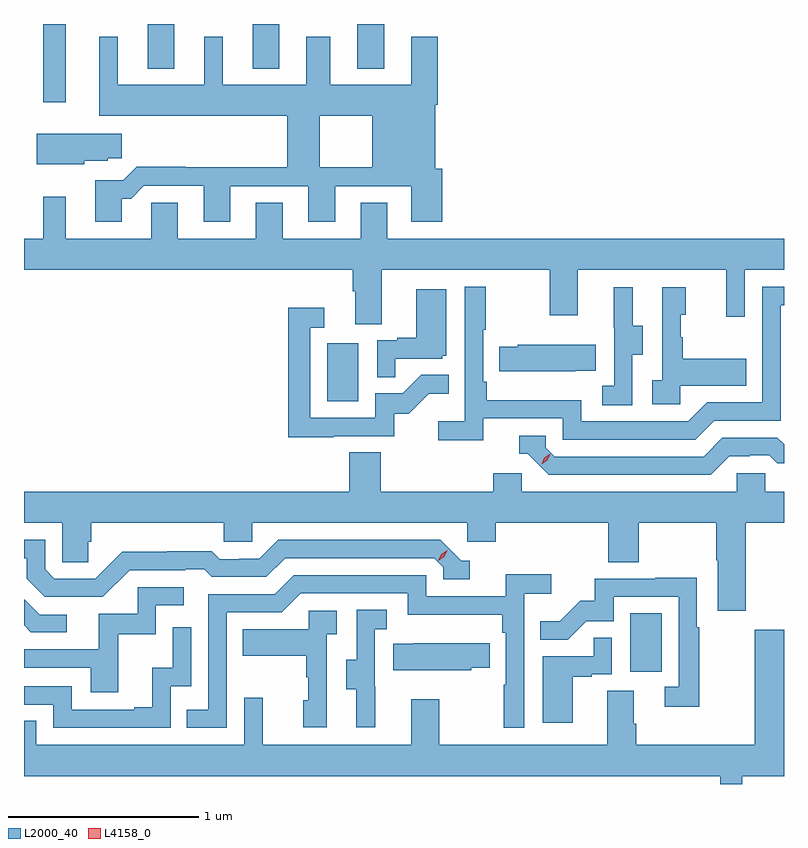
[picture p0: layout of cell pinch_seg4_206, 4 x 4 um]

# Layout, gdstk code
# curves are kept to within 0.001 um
import gdstk
lib = gdstk.Library(unit=1e-6, precision=1e-09)
def R(c, l, rs):  # rectangles x0, y0, x1, y1
    for r in rs: c.add(gdstk.rectangle(r[:2], r[2:], *l))
def A(c, l, x, y, w, h, nx, ny, dx, dy):  # array of equal rectangles
    R(c, l, [(x+i*dx, y+j*dy, x+i*dx+w, y+j*dy+h) for i in range(nx) for j in range(ny)])
def P(c, l, *ps):  # polygons
    for p in ps: c.add(gdstk.Polygon(p, *l))
L2000_40 = (2000, 40)
L4158_0 = (4158, 0)

pinch_seg4_206 = lib.new_cell('pinch_seg4_206')
A(pinch_seg4_206, L2000_40, 1011.971, 831.179, 0.14, 0.235, 3, 1, 0.552, 0)
R(pinch_seg4_206, L2000_40, [(1014.512,828.006,1014.676,828.313), (1012.916,829.428,1013.08,829.735), (1011.42,831.003,1011.541,831.414)])
P(pinch_seg4_206, L2000_40, [(1012.169,830.663),(1011.914,830.663),(1011.843,830.592),(1011.695,830.592),(1011.695,830.373),(1011.835,830.373),(1011.835,830.495),(1011.884,830.495),(1011.951,830.562),(1012.265,830.562),(1012.265,830.373),(1012.405,830.373),(1012.405,830.559),(1012.817,830.559),(1012.817,830.373),(1012.957,830.373),(1012.957,830.559),(1013.357,830.559),(1013.357,830.373),(1013.522,830.373),(1013.522,830.652),(1013.485,830.652),(1013.485,830.99),(1013.498,830.99),(1013.498,831.346),(1013.357,831.346),(1013.357,831.094),(1012.933,831.094),(1012.933,831.346),(1012.805,831.346),(1012.805,831.094),(1012.366,831.094),(1012.366,831.346),(1012.268,831.346),(1012.268,831.094),(1011.814,831.094),(1011.814,831.346),(1011.716,831.346),(1011.716,830.93),(1012.706,830.93),(1012.706,830.66),(1012.876,830.66),(1012.876,830.93),(1013.153,830.93),(1013.153,830.66),(1012.169,830.66)],
  [(1011.636,830.693),(1011.762,830.693),(1011.762,830.707),(1011.835,830.707),(1011.835,830.836),(1011.386,830.836),(1011.386,830.675),(1011.636,830.675)],
  [(1013.051,830.008),(1013.063,830.008),(1013.063,829.834),(1013.203,829.834),(1013.203,830.12),(1014.088,830.12),(1014.088,829.881),(1014.235,829.881),(1014.235,830.12),(1015.016,830.12),(1015.016,829.872),(1015.113,829.872),(1015.113,830.12),(1015.32,830.12),(1015.32,830.284),(1013.233,830.284),(1013.233,830.474),(1013.093,830.474),(1013.093,830.284),(1012.681,830.284),(1012.681,830.474),(1012.541,830.474),(1012.541,830.284),(1012.129,830.284),(1012.129,830.474),(1011.99,830.474),(1011.99,830.284),(1011.541,830.284),(1011.541,830.506),(1011.42,830.506),(1011.42,830.284),(1011.32,830.284),(1011.32,830.12),(1013.051,830.12)],
  [(1013.738,829.338),(1014.156,829.338),(1014.156,829.227),(1014.853,829.227),(1014.952,829.326),(1015.302,829.326),(1015.302,829.935),(1015.32,829.935),(1015.32,830.031),(1015.206,830.031),(1015.206,829.422),(1014.915,829.422),(1014.816,829.323),(1014.252,829.323),(1014.252,829.435),(1013.756,829.435),(1013.756,829.531),(1013.736,829.531),(1013.736,829.804),(1013.749,829.804),(1013.749,830.032),(1013.64,830.032),(1013.64,829.324),(1013.499,829.324),(1013.499,829.222),(1013.738,829.222)],
  [(1014.522,829.672),(1014.577,829.672),(1014.577,829.827),(1014.523,829.827),(1014.523,830.029),(1014.425,830.029),(1014.425,829.815),(1014.426,829.815),(1014.426,829.511),(1014.363,829.511),(1014.363,829.408),(1014.522,829.408)],
  [(1014.774,829.511),(1015.121,829.511),(1015.121,829.651),(1014.787,829.651),(1014.787,829.766),(1014.777,829.766),(1014.777,829.884),(1014.802,829.884),(1014.802,830.029),(1014.678,830.029),(1014.678,829.538),(1014.627,829.538),(1014.627,829.413),(1014.774,829.413)],
  [(1013.273,829.653),(1013.52,829.653),(1013.52,829.668),(1013.542,829.668),(1013.542,830.017),(1013.384,830.017),(1013.384,829.762),(1013.285,829.762),(1013.285,829.749),(1013.178,829.749),(1013.178,829.555),(1013.273,829.555)],
  [(1012.949,829.245),(1013.268,829.245),(1013.268,829.362),(1013.344,829.362),(1013.451,829.469),(1013.555,829.469),(1013.555,829.568),(1013.411,829.568),(1013.313,829.47),(1013.169,829.47),(1013.169,829.341),(1012.827,829.341),(1012.827,829.815),(1012.9,829.815),(1012.9,829.921),(1012.711,829.921),(1012.711,829.24),(1012.949,829.24)],
  [(1014.221,829.589),(1014.329,829.589),(1014.329,829.726),(1013.919,829.726),(1013.919,829.716),(1013.821,829.716),(1013.821,829.586),(1014.221,829.586)],
  [(1015.033,829.14),(1015.14,829.14),(1015.14,829.143),(1015.243,829.143),(1015.285,829.101),(1015.32,829.101),(1015.32,829.201),(1015.285,829.236),(1014.996,829.236),(1014.897,829.137),(1014.114,829.137),(1014.066,829.185),(1014.066,829.248),(1013.927,829.248),(1013.927,829.152),(1013.97,829.152),(1014.081,829.041),(1014.934,829.041)],
  [(1015.119,828.788),(1015.32,828.788),(1015.32,828.952),(1015.221,828.952),(1015.221,829.05),(1015.071,829.05),(1015.071,828.952),(1013.94,828.952),(1013.94,829.05),(1013.789,829.05),(1013.789,828.952),(1013.198,828.952),(1013.198,829.16),(1013.033,829.16),(1013.033,828.952),(1011.32,828.952),(1011.32,828.788),(1011.522,828.788),(1011.522,828.58),(1011.659,828.58),(1011.659,828.69),(1011.674,828.69),(1011.674,828.788),(1012.371,828.788),(1012.371,828.69),(1012.521,828.69),(1012.521,828.788),(1013.652,828.788),(1013.652,828.69),(1013.804,828.69),(1013.804,828.788),(1014.395,828.788),(1014.395,828.58),(1014.555,828.58),(1014.555,828.788),(1014.964,828.788),(1014.964,828.592),(1014.971,828.592),(1014.971,828.327),(1015.119,828.327)],
  [(1011.876,828.54),(1012.169,828.54),(1012.169,828.543),(1012.268,828.543),(1012.307,828.504),(1012.596,828.504),(1012.695,828.603),(1013.478,828.603),(1013.526,828.555),(1013.526,828.492),(1013.665,828.492),(1013.665,828.588),(1013.622,828.588),(1013.511,828.699),(1012.658,828.699),(1012.559,828.6),(1012.452,828.6),(1012.452,828.597),(1012.349,828.597),(1012.307,828.64),(1012.074,828.64),(1012.074,828.637),(1011.838,828.637),(1011.696,828.495),(1011.48,828.495),(1011.432,828.543),(1011.432,828.699),(1011.32,828.699),(1011.32,828.603),(1011.335,828.603),(1011.335,828.493),(1011.429,828.399),(1011.735,828.399)],
  [(1012.386,828.318),(1012.677,828.318),(1012.776,828.417),(1013.34,828.417),(1013.34,828.305),(1013.836,828.305),(1013.836,828.209),(1013.856,828.209),(1013.856,827.936),(1013.844,827.936),(1013.844,827.709),(1013.952,827.709),(1013.952,828.416),(1014.094,828.416),(1014.094,828.518),(1013.855,828.518),(1013.855,828.402),(1013.436,828.402),(1013.436,828.513),(1012.739,828.513),(1012.64,828.414),(1012.29,828.414),(1012.29,827.805),(1012.177,827.805),(1012.177,827.709),(1012.386,827.709)],
  [(1014.874,828.239),(1014.861,828.239),(1014.861,828.5),(1014.643,828.5),(1014.643,828.495),(1014.325,828.495),(1014.325,828.378),(1014.248,828.378),(1014.141,828.271),(1014.037,828.271),(1014.037,828.172),(1014.181,828.172),(1014.279,828.27),(1014.423,828.27),(1014.423,828.399),(1014.765,828.399),(1014.765,827.925),(1014.693,827.925),(1014.693,827.82),(1014.874,827.82)],
  [(1011.815,828.201),(1012.014,828.201),(1012.014,828.354),(1012.162,828.354),(1012.162,828.45),(1011.918,828.45),(1011.918,828.309),(1011.713,828.309),(1011.713,828.123),(1011.32,828.123),(1011.32,828.027),(1011.671,828.027),(1011.671,827.898),(1011.815,827.898)],
  [(1011.544,828.306),(1011.402,828.306),(1011.322,828.386),(1011.32,828.386),(1011.32,828.249),(1011.356,828.213),(1011.544,828.213)],
  [(1013.168,827.925),(1013.166,827.925),(1013.166,828.229),(1013.23,828.229),(1013.23,828.332),(1013.07,828.332),(1013.07,828.069),(1013.015,828.069),(1013.015,827.914),(1013.069,827.914),(1013.069,827.712),(1013.168,827.712)],
  [(1012.914,828.203),(1012.966,828.203),(1012.966,828.327),(1012.818,828.327),(1012.818,828.229),(1012.471,828.229),(1012.471,828.089),(1012.806,828.089),(1012.806,827.975),(1012.816,827.975),(1012.816,827.856),(1012.79,827.856),(1012.79,827.712),(1012.914,827.712)],
  [(1012.092,827.928),(1012.2,827.928),(1012.2,828.238),(1012.104,828.238),(1012.104,828.026),(1011.995,828.026),(1011.995,827.818),(1011.899,827.818),(1011.899,827.805),(1011.57,827.805),(1011.57,827.928),(1011.32,827.928),(1011.32,827.832),(1011.474,827.832),(1011.474,827.709),(1012.092,827.709)],
  [(1015.101,827.456),(1015.32,827.456),(1015.32,828.226),(1015.166,828.226),(1015.166,827.62),(1014.542,827.62),(1014.542,827.732),(1014.529,827.732),(1014.529,827.906),(1014.389,827.906),(1014.389,827.62),(1013.505,827.62),(1013.505,827.86),(1013.357,827.86),(1013.357,827.62),(1012.577,827.62),(1012.577,827.869),(1012.479,827.869),(1012.479,827.62),(1011.384,827.62),(1011.384,827.747),(1011.32,827.747),(1011.32,827.456),(1014.985,827.456),(1014.985,827.414),(1015.101,827.414)],
  [(1014.208,827.979),(1014.308,827.979),(1014.308,827.991),(1014.414,827.991),(1014.414,828.185),(1014.319,828.185),(1014.319,828.087),(1014.05,828.087),(1014.05,827.736),(1014.208,827.736)],
  [(1013.673,828.025),(1013.771,828.025),(1013.771,828.154),(1013.371,828.154),(1013.371,828.151),(1013.263,828.151),(1013.263,828.014),(1013.673,828.014)])
P(pinch_seg4_206, L4158_0, [(1014.044,829.098),(1014.044,829.098),(1014.059,829.131),(1014.09,829.151),(1014.09,829.151),(1014.09,829.151),(1014.074,829.118),(1014.044,829.098)],
  [(1013.501,828.589),(1013.501,828.59),(1013.516,828.623),(1013.547,828.643),(1013.547,828.643),(1013.547,828.643),(1013.532,828.61),(1013.501,828.589)])

lib.write_gds('pinch_seg4_206.gds')
